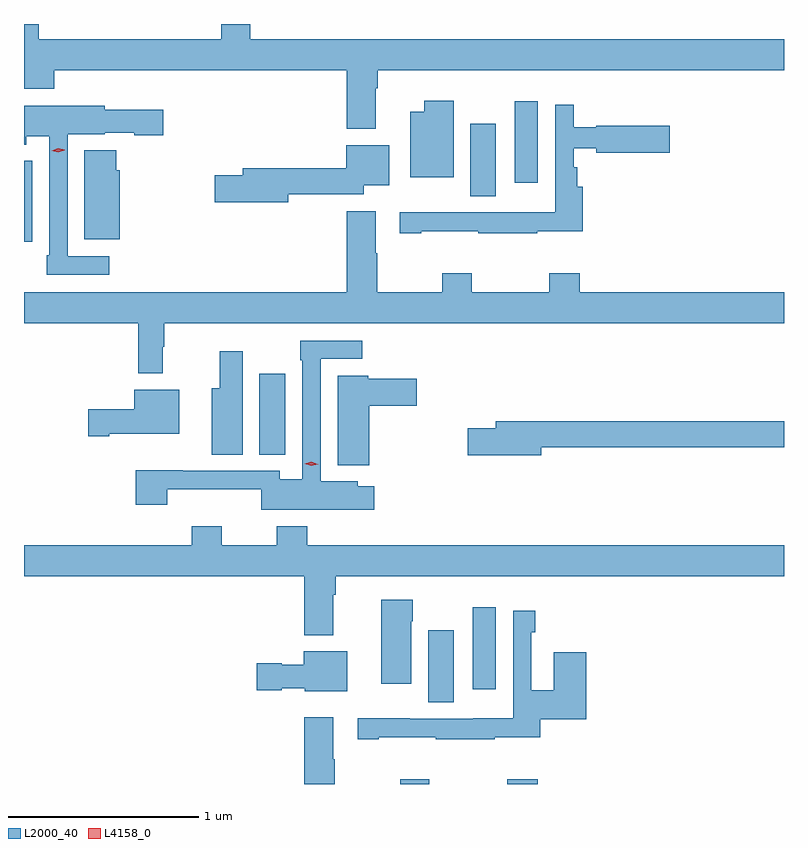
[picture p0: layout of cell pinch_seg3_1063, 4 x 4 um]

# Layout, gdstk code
import gdstk
lib = gdstk.Library(unit=1e-6, precision=1e-09)
def R(c, l, rs):  # rectangles x0, y0, x1, y1
    for r in rs: c.add(gdstk.rectangle(r[:2], r[2:], *l))
def P(c, l, *ps):  # polygons
    for p in ps: c.add(gdstk.Polygon(p, *l))
L2000_40 = (2000, 40)
L4158_0 = (4158, 0)

pinch_seg3_1063 = lib.new_cell('pinch_seg3_1063')
R(pinch_seg3_1063, L2000_40, [(279.532,741.115,279.687,741.139), (280.096,741.115,280.256,741.139), (279.68,741.544,279.814,741.925), (279.914,741.615,280.036,742.045), (278.792,742.849,278.929,743.275), (277.553,743.97,277.597,744.395), (279.902,744.208,280.036,744.589), (280.136,744.279,280.258,744.709)])
P(pinch_seg3_1063, L2000_40, [(279.403,744.776),(279.416,744.776),(279.416,744.872),(281.553,744.872),(281.553,745.036),(278.744,745.036),(278.744,745.115),(278.591,745.115),(278.591,745.036),(277.631,745.036),(277.631,745.115),(277.553,745.115),(277.553,744.773),(277.712,744.773),(277.712,744.872),(279.251,744.872),(279.251,744.563),(279.403,744.563)],
  [(279.814,744.712),(279.659,744.712),(279.659,744.652),(279.587,744.652),(279.587,744.308),(279.814,744.308)],
  [(279.643,744.025),(279.943,744.025),(279.943,744.015),(280.253,744.015),(280.253,744.025),(280.493,744.025),(280.493,744.259),(280.466,744.259),(280.466,744.36),(280.446,744.36),(280.446,744.461),(280.566,744.461),(280.566,744.437),(280.951,744.437),(280.951,744.579),(280.566,744.579),(280.566,744.571),(280.446,744.571),(280.446,744.691),(280.35,744.691),(280.35,744.124),(280.14,744.124),(280.14,744.123),(279.806,744.123),(279.806,744.125),(279.531,744.125),(279.531,744.015),(279.643,744.015)],
  [(278.002,743.892),(277.782,743.892),(277.782,744.536),(277.977,744.536),(277.977,744.542),(278.134,744.542),(278.134,744.53),(278.287,744.53),(278.287,744.664),(277.977,744.664),(277.977,744.685),(277.553,744.685),(277.553,744.48),(277.566,744.48),(277.566,744.524),(277.686,744.524),(277.686,743.899),(277.674,743.899),(277.674,743.796),(278.002,743.796)],
  [(278.944,744.22),(279.342,744.22),(279.342,744.266),(279.475,744.266),(279.475,744.478),(279.248,744.478),(279.248,744.356),(278.705,744.356),(278.705,744.32),(278.556,744.32),(278.556,744.178),(278.944,744.178)],
  [(278.056,744.345),(278.038,744.345),(278.038,744.451),(277.871,744.451),(277.871,743.981),(278.056,743.981)],
  [(278.284,743.417),(278.291,743.417),(278.291,743.54),(281.553,743.54),(281.553,743.704),(280.478,743.704),(280.478,743.803),(280.318,743.803),(280.318,743.704),(279.909,743.704),(279.909,743.803),(279.754,743.803),(279.754,743.704),(279.411,743.704),(279.411,743.909),(279.403,743.909),(279.403,744.13),(279.251,744.13),(279.251,743.704),(277.553,743.704),(277.553,743.54),(278.155,743.54),(278.155,743.277),(278.284,743.277)],
  [(279.397,742.681),(279.309,742.681),(279.309,742.708),(279.114,742.708),(279.114,743.352),(279.334,743.352),(279.334,743.448),(279.006,743.448),(279.006,743.345),(279.018,743.345),(279.018,742.72),(278.898,742.72),(278.898,742.764),(278.389,742.764),(278.389,742.766),(278.141,742.766),(278.141,742.584),(278.306,742.584),(278.306,742.667),(278.802,742.667),(278.802,742.559),(279.397,742.559)],
  [(278.704,743.392),(278.582,743.392),(278.582,743.197),(278.54,743.197),(278.54,742.849),(278.704,742.849)],
  [(279.37,743.105),(279.619,743.105),(279.619,743.247),(279.366,743.247),(279.366,743.263),(279.203,743.263),(279.203,742.793),(279.37,742.793)],
  [(278.002,742.958),(278.371,742.958),(278.371,743.191),(278.132,743.191),(278.132,743.088),(277.89,743.088),(277.89,742.946),(278.002,742.946)],
  [(280.276,742.888),(281.553,742.888),(281.553,743.024),(280.037,743.024),(280.037,742.988),(279.888,742.988),(279.888,742.846),(280.276,742.846)],
  [(279.029,741.899),(279.181,741.899),(279.181,742.112),(279.194,742.112),(279.194,742.208),(281.553,742.208),(281.553,742.372),(279.044,742.372),(279.044,742.471),(278.884,742.471),(278.884,742.372),(278.595,742.372),(278.595,742.471),(278.435,742.471),(278.435,742.372),(277.553,742.372),(277.553,742.208),(279.029,742.208)],
  [(279.592,741.971),(279.6,741.971),(279.6,742.084),(279.434,742.084),(279.434,741.642),(279.592,741.642)],
  [(279.421,741.361),(279.721,741.361),(279.721,741.351),(280.031,741.351),(280.031,741.361),(280.271,741.361),(280.271,741.455),(280.511,741.455),(280.511,741.808),(280.34,741.808),(280.34,741.608),(280.224,741.608),(280.224,741.914),(280.244,741.914),(280.244,742.027),(280.128,742.027),(280.128,741.46),(279.918,741.46),(279.918,741.459),(279.584,741.459),(279.584,741.461),(279.309,741.461),(279.309,741.351),(279.421,741.351)],
  [(279.253,741.814),(279.026,741.814),(279.026,741.742),(278.91,741.742),(278.91,741.75),(278.778,741.75),(278.778,741.608),(278.91,741.608),(278.91,741.62),(279.03,741.62),(279.03,741.602),(279.253,741.602)],
  [(279.189,741.245),(279.181,741.245),(279.181,741.466),(279.029,741.466),(279.029,741.115),(279.189,741.115)])
P(pinch_seg3_1063, L4158_0, [(277.734,744.44),(277.699,744.449),(277.699,744.449),(277.699,744.449),(277.733,744.46),(277.768,744.452),(277.768,744.451),(277.768,744.451)],
  [(279.065,742.79),(279.031,742.8),(279.03,742.8),(279.031,742.8),(279.066,742.81),(279.1,742.799),(279.101,742.799),(279.1,742.799)])

lib.write_gds('pinch_seg3_1063.gds')
